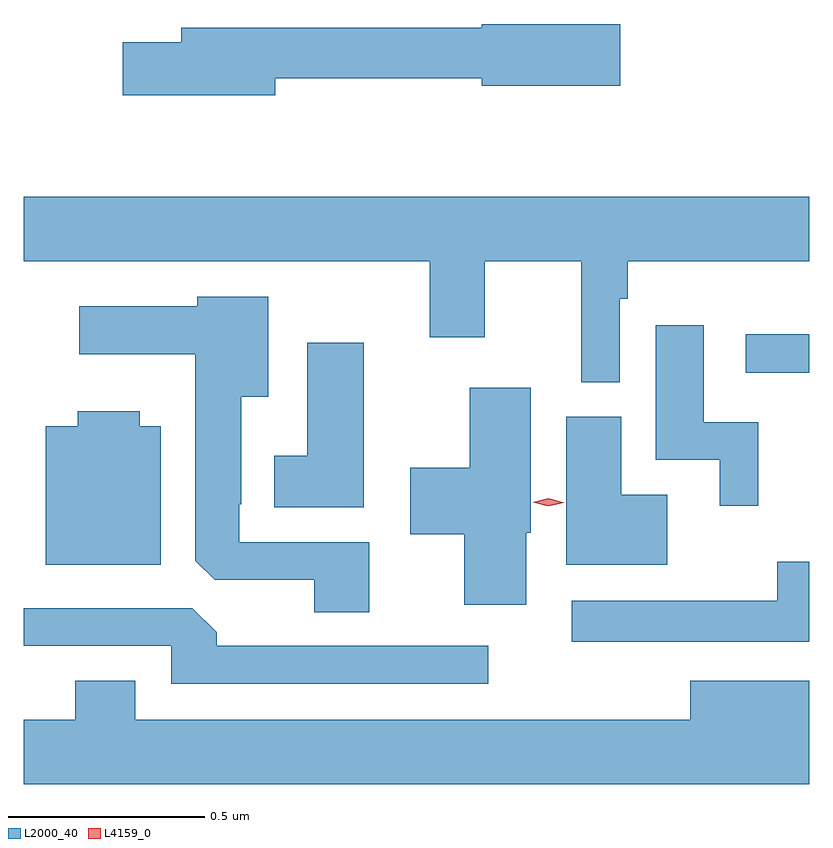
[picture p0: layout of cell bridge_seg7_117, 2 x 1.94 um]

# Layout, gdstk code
import gdstk
lib = gdstk.Library(unit=1e-6, precision=1e-09)
def R(c, l, rs):  # rectangles x0, y0, x1, y1
    for r in rs: c.add(gdstk.rectangle(r[:2], r[2:], *l))
def P(c, l, *ps):  # polygons
    for p in ps: c.add(gdstk.Polygon(p, *l))
L2000_40 = (2000, 40)
L4159_0 = (4159, 0)

bridge_seg7_117 = lib.new_cell('bridge_seg7_117')
R(bridge_seg7_117, L2000_40, [(869.553,1001.664,869.714,1001.762)])
P(bridge_seg7_117, L2000_40, [(868.354,1002.414),(868.88,1002.414),(868.88,1002.395),(869.233,1002.395),(869.233,1002.552),(868.88,1002.552),(868.88,1002.542),(868.115,1002.542),(868.115,1002.506),(867.966,1002.506),(867.966,1002.371),(868.354,1002.371)],
  [(869.232,1001.852),(869.252,1001.852),(869.252,1001.948),(869.714,1001.948),(869.714,1002.112),(867.714,1002.112),(867.714,1001.948),(868.748,1001.948),(868.748,1001.754),(868.888,1001.754),(868.888,1001.948),(869.134,1001.948),(869.134,1001.64),(869.232,1001.64)],
  [(868.594,1001.232),(868.263,1001.232),(868.263,1001.329),(868.267,1001.329),(868.267,1001.603),(868.336,1001.603),(868.336,1001.857),(868.155,1001.857),(868.155,1001.833),(867.855,1001.833),(867.855,1001.711),(868.151,1001.711),(868.151,1001.185),(868.2,1001.136),(868.454,1001.136),(868.454,1001.053),(868.594,1001.053)],
  [(869.584,1001.538),(869.446,1001.538),(869.446,1001.785),(869.324,1001.785),(869.324,1001.442),(869.486,1001.442),(869.486,1001.325),(869.584,1001.325)],
  [(868.579,1001.74),(868.436,1001.74),(868.436,1001.452),(868.352,1001.452),(868.352,1001.321),(868.579,1001.321)],
  [(868.993,1001.256),(869.005,1001.256),(869.005,1001.626),(868.85,1001.626),(868.85,1001.421),(868.698,1001.421),(868.698,1001.252),(868.835,1001.252),(868.835,1001.073),(868.993,1001.073)],
  [(868.063,1001.527),(868.009,1001.527),(868.009,1001.566),(867.851,1001.566),(867.851,1001.527),(867.77,1001.527),(867.77,1001.174),(868.063,1001.174)],
  [(869.353,1001.353),(869.236,1001.353),(869.236,1001.551),(869.096,1001.551),(869.096,1001.174),(869.353,1001.174)],
  [(869.714,1001.182),(869.633,1001.182),(869.633,1001.083),(869.109,1001.083),(869.109,1000.979),(869.714,1000.979)],
  [(868.897,1000.968),(868.205,1000.968),(868.205,1001.002),(868.143,1001.064),(867.714,1001.064),(867.714,1000.968),(868.089,1000.968),(868.089,1000.872),(868.897,1000.872)],
  [(869.714,1000.879),(869.411,1000.879),(869.411,1000.78),(867.997,1000.78),(867.997,1000.879),(867.845,1000.879),(867.845,1000.78),(867.714,1000.78),(867.714,1000.616),(869.714,1000.616)])
P(bridge_seg7_117, L4159_0, [(869.05,1001.324),(869.01,1001.334),(869.01,1001.334),(869.01,1001.334),(869.051,1001.344),(869.091,1001.333),(869.091,1001.333),(869.091,1001.333)])

lib.write_gds('bridge_seg7_117.gds')
